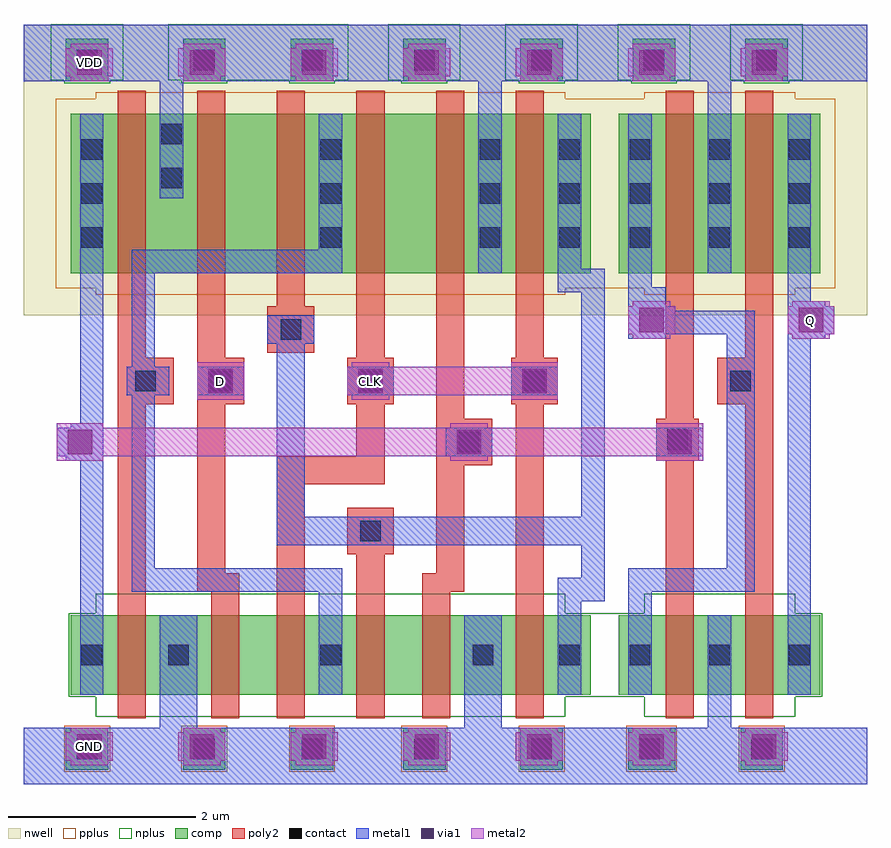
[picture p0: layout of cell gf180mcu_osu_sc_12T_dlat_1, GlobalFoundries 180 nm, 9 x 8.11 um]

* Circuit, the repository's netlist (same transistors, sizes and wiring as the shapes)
* HSPICE file created from gf180mcu_osu_sc_12T_dlat_1.ext - technology: gf180mcuC

.inc "../../../char/techfiles/design.hspice"
.lib "../../../char/techfiles/sm141064.hspice" typical

.GLOBAL VDD
.GLOBAL GND

.option scale=0.05u

.subckt gf180mcu_osu_sc_12T_dlat_1 D CLK Q
X0 VDD a_n145_19 a_n78_109 VDD pmos_3p3 w=34 l=6
X1 a_n103_92 CLK VDD VDD pmos_3p3 w=34 l=6
X2 Q a_n28_19 VDD VDD pmos_3p3 w=34 l=6
X3 VDD a_n135_14 a_n145_19 VDD pmos_3p3 w=34 l=6
X4 a_n112_109 D VDD VDD pmos_3p3 w=34 l=6
X5 a_n135_14 a_n103_92 a_n112_109 VDD pmos_3p3 w=34 l=6
X6 a_n78_19 a_n103_92 a_n135_14 GND nmos_3p3 w=17 l=6
X7 a_n103_92 CLK GND GND nmos_3p3 w=17 l=6
X8 VDD a_n145_19 a_n28_19 VDD pmos_3p3 w=34 l=6
X9 a_n135_14 CLK a_n109_19 GND nmos_3p3 w=17 l=6
X10 a_n109_19 D GND GND nmos_3p3 w=17 l=6
X11 GND a_n145_19 a_n78_19 GND nmos_3p3 w=17 l=6
X12 GND a_n135_14 a_n145_19 GND nmos_3p3 w=17 l=6
X13 a_n78_109 CLK a_n135_14 VDD pmos_3p3 w=34 l=6
X14 GND a_n145_19 a_n28_19 GND nmos_3p3 w=17 l=6
X15 Q a_n28_19 GND GND nmos_3p3 w=17 l=6
.ends

** hspice subcircuit dictionary

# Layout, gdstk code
import gdstk
lib = gdstk.Library(unit=1e-6, precision=1e-09)
def R(c, l, rs):  # rectangles x0, y0, x1, y1
    for r in rs: c.add(gdstk.rectangle(r[:2], r[2:], *l))
def A(c, l, x, y, w, h, nx, ny, dx, dy):  # array of equal rectangles
    R(c, l, [(x+i*dx, y+j*dy, x+i*dx+w, y+j*dy+h) for i in range(nx) for j in range(ny)])
nwell = (21, 0)
comp = (22, 0)
poly2 = (30, 0)
pplus = (31, 0)
nplus = (32, 0)
contact = (33, 0)
metal1 = (34, 0)
via1 = (35, 0)
metal2 = (36, 0)

gf180mcu_osu_sc_12t_dlat = lib.new_cell('gf180mcu_osu_sc_12T_dlat_1')
R(gf180mcu_osu_sc_12t_dlat, nwell, [(-7.75,5,1.25,8.1)])
A(gf180mcu_osu_sc_12t_dlat, comp, -2.45, 7.5, 0.45, 0.45, 3, 1, 1.2, 0)
R(gf180mcu_osu_sc_12t_dlat, comp, [(-7.3,0.15,-6.85,0.6), (-6.05,0.15,-5.6,0.6), (-4.9,0.15,-4.45,0.6), (-3.7,0.15,-3.25,0.6), (-2.45,0.15,-2,0.6), (-1.3,0.15,-0.8,0.6), (-0.1,0.15,0.35,0.6), (-7.25,0.95,-1.7,1.8), (-1.4,0.95,0.75,1.8), (-7.25,5.45,-1.7,7.15), (-1.4,5.45,0.75,7.15), (-7.3,7.5,-6.85,7.95), (-6.05,7.5,-5.6,7.95), (-4.9,7.5,-4.45,7.95), (-3.7,7.5,-3.25,7.95)])
A(gf180mcu_osu_sc_12t_dlat, poly2, -5.9, 4.55, 0.3, 2.85, 3, 1, 1.7, 0)
R(gf180mcu_osu_sc_12t_dlat, poly2, [(-6.75,0.7,-6.45,4.05), (-5.75,0.7,-5.45,2.05), (-5.05,0.7,-4.75,3.2), (-4.2,0.7,-3.9,2.45), (-3.5,0.7,-3.2,2.05), (-2.5,0.7,-2.2,4.05), (-0.9,0.7,-0.6,3.45), (-0.05,0.7,0.25,4.05), (-5.9,2.05,-5.45,2.25), (-3.5,2.05,-3.05,2.25), (-5.9,2.25,-5.6,4.05), (-3.35,2.25,-3.05,3.4), (-4.3,2.45,-3.8,2.95), (-5.05,3.2,-3.9,3.5), (-3.35,3.4,-2.75,3.9), (-1,3.45,-0.55,3.9), (-4.2,3.5,-3.9,4.05), (-3.35,3.9,-3.05,7.4), (-0.9,3.9,-0.6,7.4), (-6.75,4.05,-6.15,4.55), (-5.9,4.05,-5.4,4.55), (-4.3,4.05,-3.8,4.55), (-2.55,4.05,-2.05,4.55), (-0.35,4.05,0.25,4.55), (-6.75,4.55,-6.45,7.4), (-0.05,4.55,0.25,7.4), (-5.15,4.6,-4.65,5.1), (-5.05,5.1,-4.75,7.4)])
R(gf180mcu_osu_sc_12t_dlat, pplus, [(-7.32,0.13,-6.83,0.62), (-6.07,0.13,-5.58,0.62), (-4.92,0.13,-4.43,0.62), (-3.72,0.13,-3.23,0.62), (-2.47,0.13,-1.98,0.62), (-1.32,0.13,-0.78,0.62), (-0.12,0.13,0.37,0.62), (-6.98,5.22,-1.97,5.29), (-1.13,5.22,0.48,5.29), (-7.41,5.29,0.91,7.31), (-6.98,7.31,-1.97,7.38), (-1.13,7.31,0.48,7.38)])
A(gf180mcu_osu_sc_12t_dlat, nplus, -2.47, 7.48, 0.49, 0.03, 3, 1, 1.2, 0)
A(gf180mcu_osu_sc_12t_dlat, nplus, -2.61, 7.51, 0.77, 0.6, 3, 1, 1.2, 0)
R(gf180mcu_osu_sc_12t_dlat, nplus, [(-6.98,0.72,-1.97,0.93), (-1.13,0.72,0.48,0.93), (-7.27,0.93,0.77,1.82), (-6.98,1.82,-1.97,2.03), (-1.13,1.82,0.48,2.03), (-7.32,7.48,-6.83,7.51), (-6.07,7.48,-5.58,7.51), (-4.92,7.48,-4.43,7.51), (-3.72,7.48,-3.23,7.51), (-7.46,7.51,-6.69,8.11), (-6.21,7.51,-4.29,8.11), (-3.86,7.51,-3.09,8.11)])
A(gf180mcu_osu_sc_12t_dlat, contact, -6.21, 1.265, 0.22, 0.22, 3, 1, 1.625, 0)
A(gf180mcu_osu_sc_12t_dlat, contact, -1.285, 1.265, 0.22, 0.22, 3, 2, 0.85, 4.455)
A(gf180mcu_osu_sc_12t_dlat, contact, -7.135, 5.72, 0.22, 0.22, 1, 3, 0, 0.47)
A(gf180mcu_osu_sc_12t_dlat, contact, -4.585, 5.72, 0.22, 0.22, 1, 3, 0, 0.47)
A(gf180mcu_osu_sc_12t_dlat, contact, -2.885, 5.72, 0.22, 0.22, 1, 3, 0, 0.47)
A(gf180mcu_osu_sc_12t_dlat, contact, -2.035, 5.72, 0.22, 0.22, 1, 3, 0, 0.47)
A(gf180mcu_osu_sc_12t_dlat, contact, -1.285, 6.19, 0.22, 0.22, 3, 2, 0.85, 0.47)
A(gf180mcu_osu_sc_12t_dlat, contact, -2.335, 7.615, 0.22, 0.22, 3, 1, 1.2, 0)
R(gf180mcu_osu_sc_12t_dlat, contact, [(-7.185,0.265,-6.965,0.485), (-5.935,0.265,-5.715,0.485), (-4.785,0.265,-4.565,0.485), (-3.585,0.265,-3.365,0.485), (-2.335,0.265,-2.115,0.485), (-1.185,0.265,-0.965,0.485), (0.015,0.265,0.235,0.485), (-7.135,1.265,-6.915,1.485), (-2.035,1.265,-1.815,1.485), (-4.16,2.59,-3.94,2.81), (-3.11,3.54,-2.89,3.76), (-0.885,3.565,-0.665,3.785), (-6.56,4.19,-6.34,4.41), (-5.76,4.19,-5.54,4.41), (-4.16,4.19,-3.94,4.41), (-2.41,4.19,-2.19,4.41), (-0.21,4.19,0.01,4.41), (-5.01,4.74,-4.79,4.96), (-6.285,6.355,-6.065,6.575), (-6.285,6.825,-6.065,7.045), (-7.185,7.615,-6.965,7.835), (-5.935,7.615,-5.715,7.835), (-4.785,7.615,-4.565,7.835), (-3.585,7.615,-3.365,7.835)])
R(gf180mcu_osu_sc_12t_dlat, metal1, [(-7.75,0,1.25,0.6), (-6.3,0.6,-5.9,1.8), (-3.05,0.6,-2.65,1.8), (-0.45,0.6,-0.2,1.8), (-7.15,0.95,-6.9,3.45), (-4.6,0.95,-4.35,2.05), (-2.05,0.95,-1.8,1.95), (-1.3,0.95,-1.05,2.05), (0.4,0.95,0.65,4.75), (-2.05,1.95,-1.55,2.2), (-6.6,2.05,-4.35,2.3), (-1.3,2.05,0.05,2.3), (-1.8,2.2,-1.55,2.55), (-6.6,2.3,-6.35,4.15), (-0.25,2.3,0.05,4.8), (-5.05,2.55,-1.55,2.85), (-5.05,2.85,-4.75,4.7), (-1.8,2.85,-1.55,5.25), (-7.3,3.45,-6.9,3.5), (-7.4,3.5,-6.9,3.8), (-3.25,3.5,-2.75,3.8), (-1,3.5,-0.5,3.8), (-7.25,3.8,-6.9,3.85), (-7.15,3.85,-6.9,7.15), (-6.65,4.15,-6.2,4.45), (-5.9,4.15,-5.4,4.45), (-4.3,4.15,-3.8,4.45), (-2.55,4.15,-2.05,4.45), (-6.6,4.45,-6.35,5.45), (-5.15,4.7,-4.65,5), (-1.3,4.75,-0.9,4.8), (0.4,4.75,0.8,4.8), (-1.3,4.8,0.05,5.05), (0.4,4.8,0.9,5.1), (-1.3,5.05,-0.8,5.1), (-1.3,5.1,-0.9,5.3), (0.4,5.1,0.8,5.15), (0.4,5.15,0.65,7.15), (-2.05,5.25,-1.55,5.5), (-1.3,5.3,-1.05,7.15), (-6.6,5.45,-4.35,5.7), (-2.9,5.45,-2.65,7.5), (-0.45,5.45,-0.2,7.5), (-2.05,5.5,-1.8,7.15), (-4.6,5.7,-4.35,7.15), (-6.3,6.25,-6.05,7.5), (-7.75,7.5,1.25,8.1)])
A(gf180mcu_osu_sc_12t_dlat, via1, -7.18, 0.27, 0.26, 0.26, 7, 2, 1.2, 7.3)
R(gf180mcu_osu_sc_12t_dlat, via1, [(-7.28,3.52,-7.02,3.78), (-3.13,3.52,-2.87,3.78), (-0.88,3.52,-0.62,3.78), (-5.78,4.17,-5.52,4.43), (-4.18,4.17,-3.92,4.43), (-2.43,4.17,-2.17,4.43), (-1.18,4.82,-0.92,5.08), (0.52,4.82,0.78,5.08)])
A(gf180mcu_osu_sc_12t_dlat, metal2, -7.25, 0.2, 0.4, 0.05, 7, 2, 1.2, 0.35)
A(gf180mcu_osu_sc_12t_dlat, metal2, -7.3, 0.25, 0.5, 0.3, 7, 2, 1.2, 7.3)
A(gf180mcu_osu_sc_12t_dlat, metal2, -7.25, 7.5, 0.4, 0.05, 7, 2, 1.2, 0.35)
R(gf180mcu_osu_sc_12t_dlat, metal2, [(-7.4,3.45,-6.9,3.5), (-3.2,3.45,-2.8,3.5), (-1,3.45,-0.5,3.5), (-7.4,3.5,-0.5,3.8), (-7.4,3.8,-6.9,3.85), (-3.2,3.8,-2.8,3.85), (-1,3.8,-0.5,3.85), (-5.9,4.1,-5.4,4.5), (-4.25,4.1,-3.85,4.15), (-2.55,4.1,-2.05,4.15), (-4.3,4.15,-2.05,4.45), (-4.25,4.45,-3.85,4.5), (-2.55,4.45,-2.05,4.5), (-1.25,4.75,-0.85,4.8), (0.45,4.75,0.85,4.8), (-1.3,4.8,-0.8,5.1), (0.4,4.8,0.9,5.1), (-1.25,5.1,-0.85,5.15), (0.45,5.1,0.85,5.15)])
gf180mcu_osu_sc_12t_dlat.add(gdstk.Label('VDD', (-7.05,7.7), layer=36, texttype=0))
gf180mcu_osu_sc_12t_dlat.add(gdstk.Label('GND', (-7.05,0.4), layer=36, texttype=0))
gf180mcu_osu_sc_12t_dlat.add(gdstk.Label('D', (-5.65,4.3), layer=36, texttype=10))
gf180mcu_osu_sc_12t_dlat.add(gdstk.Label('CLK', (-4.05,4.3), layer=34, texttype=10))
gf180mcu_osu_sc_12t_dlat.add(gdstk.Label('Q', (0.65,4.95), layer=36, texttype=10))

lib.write_gds('gf180mcu_osu_sc_12T_dlat_1.gds')
